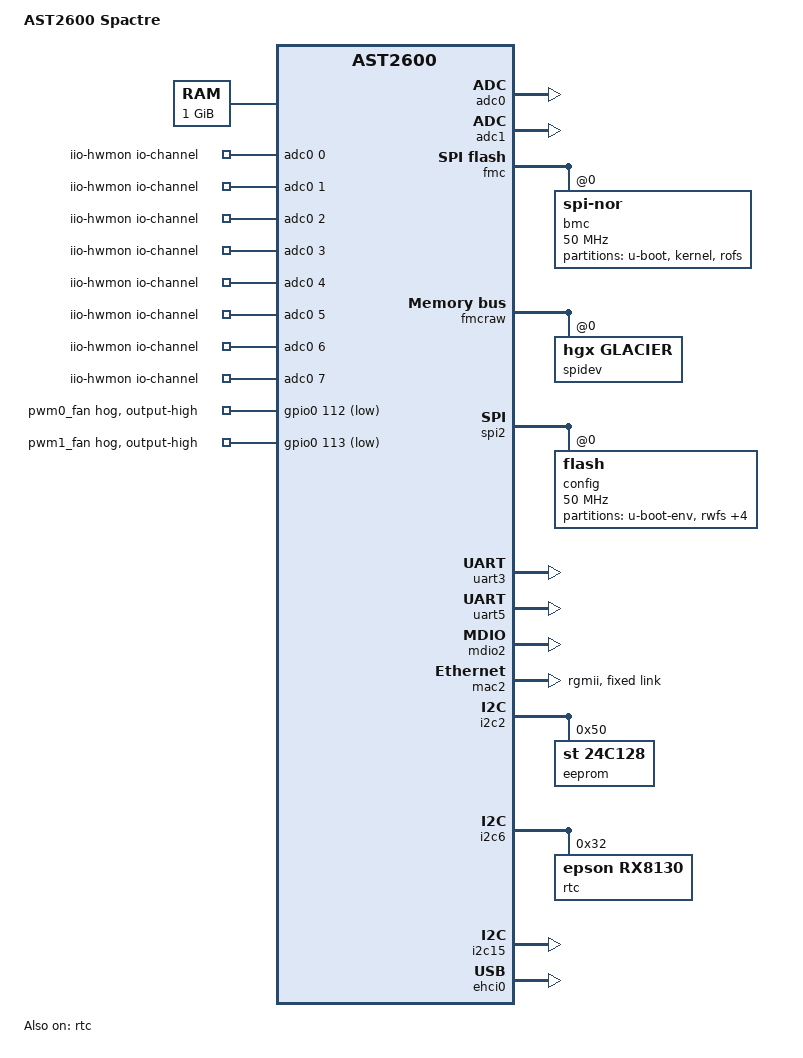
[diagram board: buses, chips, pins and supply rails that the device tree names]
// SPDX-License-Identifier: GPL-2.0+
/dts-v1/;

#include "aspeed-g6.dtsi"
#include <dt-bindings/gpio/aspeed-gpio.h>
#include <dt-bindings/leds/common.h>
#include <dt-bindings/i2c/i2c.h>
#include "aspeed-g6-pinctrl.dtsi"

/ {
	model = "AST2600 Spactre";
	compatible = "aspeed,ast2600";

	aliases {
		serial4 = &uart5;
	};

	chosen {
		stdout-path = &uart5;
		bootargs = "console=tty0 console=ttyS4,115200 earlyprintk";
	};

	memory@80000000 {
		reg = <0x80000000 0x40000000>;
	};

	power-gpios{
				n2-gpios = <&gpio0 ASPEED_GPIO(N, 2) (GPIO_ACTIVE_HIGH|GPIO_PULL_UP)>;
				n3-gpios = <&gpio0 ASPEED_GPIO(N, 3) (GPIO_ACTIVE_HIGH|GPIO_PULL_UP)>;
	};

	iio-hwmon {
		compatible = "iio-hwmon";
		io-channels = <&adc0 0>, <&adc0 1>, <&adc0 2>, <&adc0 3>,
						<&adc0 4>, <&adc0 5>, <&adc0 6>, <&adc0 7>,
						<&adc1 0>, <&adc1 1>, <&adc1 2>, <&adc1 3>,
						<&adc1 4>, <&adc1 5>, <&adc1 6>, <&adc1 7>;
	};

};

&adc0 {
	status = "okay";
	pinctrl-names = "default";
	pinctrl-0 = <&pinctrl_adc0_default
				&pinctrl_adc1_default
				&pinctrl_adc2_default
				&pinctrl_adc3_default
				&pinctrl_adc4_default
				&pinctrl_adc5_default
				&pinctrl_adc6_default
				&pinctrl_adc7_default>;
};

&adc1 {
	status = "okay";
	pinctrl-names = "default";
	pinctrl-0 = <&pinctrl_adc8_default
				&pinctrl_adc9_default
				&pinctrl_adc10_default
				&pinctrl_adc11_default
				&pinctrl_adc12_default
				&pinctrl_adc13_default
				&pinctrl_adc14_default
				&pinctrl_adc15_default>;
};


&gpio0 {
		gpio-line-names =
		/*A0-A7*/		"","","","","","","","",
		/*B0-B7*/		"","","","","","","","",
		/*C0-C7*/		"","","","","","","","",
		/*D0-D7*/		"","","","","","","","",
		/*E0-E7*/		"","","","","","","","",
		/*F0-F7*/		"","","","","","","","",
		/*G0-G7*/		"","","","","","","","",
		/*H0-H7*/		"","","","","","","","",
		/*I0-I7*/		"","","","","","","","",
		/*J0-J7*/		"","","","","","","","",
		/*K0-K7*/		"","","","","","","","",
		/*L0-L7*/		"","","","","","","","",
		/*M0-M7*/		"","","","","","","","",
		/*N0-N7*/		"","","","","","","","",
		/*O0-O7*/		"pwm0","pwm1","","","","mv_switch_reset1","","mv_switch_reset0",
		/*P0-P7*/		"","","","","","","","",
		/*Q0-Q7*/		"","","","","","","","",
		/*R0-R7*/		"","","","","","","","",
		/*S0-S7*/		"","","","","","","","",
		/*T0-T7*/		"","","","","","","","",
		/*U0-U7*/		"","","","","","","","",
		/*V0-V7*/		"","","","","","","","",
		/*W0-W7*/		"","","","","","","","",
		/*X0-X7*/		"","","","","","","","",
		/*Y0-Y7*/		"","","","","","","","",
		/*Z0-Z7*/		"","","","","","","","";

		//set Fan PWM to constant "0" (full drive , 100%)
		pwm0_fan {
			gpio-hog;
			gpios = <112 GPIO_ACTIVE_LOW>;
			output-high;
		};
		pwm1_fan {
			gpio-hog;
			gpios = <113 GPIO_ACTIVE_LOW>;
			output-high;
		};
};

&gpio1 {
		gpio-line-names =
		/*AA0-AA7*/		"","","","","","","","",
		/*AB0-AB7*/		"","","","","","","","",
		/*AC0-AC7*/		"","","","","","","","",
		/*AD0-AD7*/		"","","","","","","","",
		/*AE0-AE7*/		"","","","","","","","";
};

&fmc {
	status = "okay";
	flash@0 {
		status = "okay";
		compatible = "jedec,spi-nor";
		label = "bmc";
		spi-max-frequency = <50000000>;

		partitions {
			compatible = "fixed-partitions";
			#address-cells = <1>;
			#size-cells = <1>;

			u-boot@0 {
				reg = <0x0 0xe0000>; // 896KB
				label = "u-boot";
			};

			kernel@100000 {
				reg = <0x100000 0x900000>; // 9MB
				label = "kernel";
			};

			rofs@a00000 {
				reg = <0xa00000 0x2500000>; // 37MB
				label = "rofs";
			};
		};
	};
};

&fmcraw {
	status = "okay";
	spidev@0 {
		compatible = "hgx,glacier";
		status = "okay";
	};
};

&spi2 {
	status = "okay";
	pinctrl-names = "default";
	pinctrl-0 = <&pinctrl_spi2_default>;

	flash@0 {
		status = "okay";
		label = "config";
		spi-max-frequency = <50000000>;
		partitions {
			compatible = "fixed-partitions";
			#address-cells = <1>;
			#size-cells = <1>;

			u-boot-env@0 {
				reg = <0x0 0x40000>;	// 0.25 MB
				label = "u-boot-env";
			};

			rwfs@40000 {
				reg = <0x40000 0x1000000>;	// 16 MB
				label = "rwfs";
			};

			rwfs_failover@1040000 {
				reg = <0x1040000 0x400000>;	// 4 MB
				label = "rwfs_failover";
			};

			images_primary@1440000 {
				reg = <0x1440000 0x2400000>;	// 36 MB
				label = "images_primary";
			};

			images_secondary@3840000 {
				reg = <0x3840000 0x2400000>; // 36 MB

				label = "images_secondary";
			};

			log@5C40000 {
				reg = <0x5C40000 0x23C0000>;	// 35.75
				label = "log";
			};
		};
	};
};


&rtc {
	status = "okay";
};

&uart3 {
	status = "okay";
	pinctrl-names = "default";
	pinctrl-0 = <&pinctrl_txd3_default &pinctrl_rxd3_default>;

};

&uart5 {
	// BMC Debug Console
	status = "okay";
};

&mdio2 {
	status = "okay";
};

&mac2 {
	status = "okay";

	pinctrl-names = "default";
	phy-mode = "rgmii";
	pinctrl-0 = <&pinctrl_rgmii3_default>;
        fixed-link {
                speed = <1000>;
                full-duplex;
        };
};

// fru eeprom
&i2c2 {
	status = "okay";
	eeprom@50 {
		compatible = "st,24c128", "atmel,24c128";
		reg = <0x50>;
		pagesize = <64>;
	};
};

//external RTC i2c
&i2c6 {
	status = "okay";
	rtc@32 {
		compatible = "epson,rx8130";
		reg = <0x32>;
	};
};

//Glacier i2c
&i2c15 {
	status = "okay";
};

&ehci0 {
	status = "okay";
};
